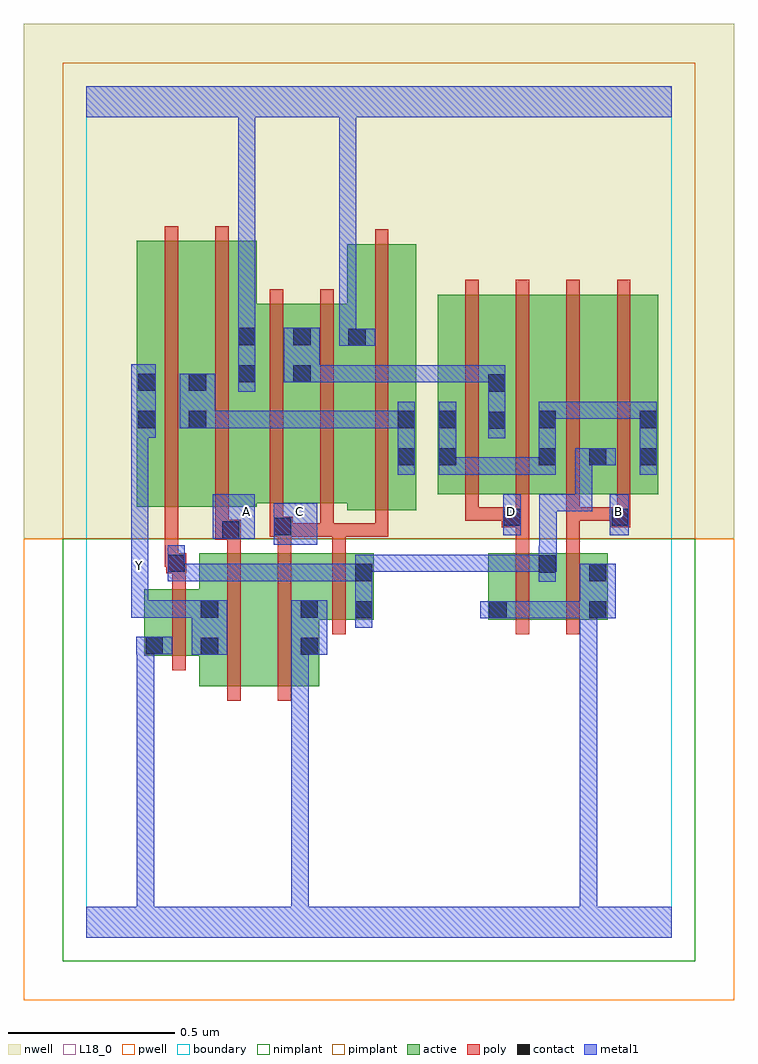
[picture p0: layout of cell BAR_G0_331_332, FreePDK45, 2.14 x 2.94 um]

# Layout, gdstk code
import gdstk
lib = gdstk.Library(unit=1e-6, precision=1e-09)
def R(c, l, rs):  # rectangles x0, y0, x1, y1
    for r in rs: c.add(gdstk.rectangle(r[:2], r[2:], *l))
def A(c, l, x, y, w, h, nx, ny, dx, dy):  # array of equal rectangles
    R(c, l, [(x+i*dx, y+j*dy, x+i*dx+w, y+j*dy+h) for i in range(nx) for j in range(ny)])
active = (1, 0)
pwell = (2, 0)
nwell = (3, 0)
nimplant = (4, 0)
pimplant = (5, 0)
poly = (9, 0)
contact = (10, 0)
metal1 = (11, 0)
L18_0 = (18, 0)
boundary = (235, 0)

bar_g0_331_332 = lib.new_cell('BAR_G0_331_332')
A(bar_g0_331_332, active, 1.204, 1.334, 0.212, 0.6, 3, 1, 0.152, 0)
R(bar_g0_331_332, active, [(0.34,0.756,0.52,1.156), (0.52,0.756,0.7,1.156), (0.34,0.846,0.4,1.018), (0.64,0.846,0.7,1.028), (0.174,0.848,0.234,1.048), (0.174,0.848,0.4,1.048), (0.64,0.956,0.864,1.156), (0.804,0.956,0.864,1.156), (1.208,0.956,1.268,1.156), (1.208,0.956,1.416,1.156), (1.356,0.956,1.568,1.156), (1.356,0.956,1.416,1.154), (1.508,0.956,1.568,1.156), (0.784,1.286,0.992,2.086), (0.932,1.286,0.992,2.044), (0.152,1.296,0.212,2.044), (0.152,1.296,0.364,2.096), (0.304,1.296,0.512,2.096), (0.304,1.296,0.364,2.044), (0.452,1.306,0.678,1.906), (0.618,1.306,0.844,1.906), (0.452,1.32,0.512,1.988), (0.784,1.32,0.844,2.086), (1.056,1.334,1.116,1.844), (1.056,1.334,1.264,1.934), (1.66,1.334,1.72,1.844), (1.356,1.416,1.416,1.844), (1.508,1.416,1.568,1.844), (1.204,1.526,1.264,1.844), (0.618,1.666,0.678,1.906)])
R(bar_g0_331_332, pwell, [(-0.188,-0.188,1.948,1.2)])
R(bar_g0_331_332, nwell, [(-0.188,1.2,1.948,2.748)])
R(bar_g0_331_332, nimplant, [(-0.072,-0.072,1.832,1.2)])
R(bar_g0_331_332, pimplant, [(-0.072,1.2,1.832,2.632)])
A(bar_g0_331_332, poly, 1.14, 1.254, 0.04, 0.076, 4, 1, 0.152, 0)
A(bar_g0_331_332, poly, 1.14, 1.29, 0.04, 0.688, 4, 1, 0.152, 0)
R(bar_g0_331_332, poly, [(0.424,0.712,0.464,1.2), (0.576,0.712,0.616,1.2), (0.258,0.804,0.298,1.092), (0.74,0.912,0.78,1.2), (1.292,0.912,1.332,1.2), (1.444,0.912,1.484,1.2), (0.258,1.052,0.298,1.136), (0.24,1.096,0.3,1.156), (0.236,1.116,0.276,1.292), (0.236,1.116,0.28,1.156), (0.24,1.116,0.28,1.156), (0.424,1.16,0.464,1.236), (0.576,1.16,0.616,1.246), (0.74,1.16,0.78,1.246), (1.292,1.16,1.332,1.236), (1.444,1.16,1.484,1.294), (0.388,1.196,0.464,1.256), (0.424,1.196,0.464,1.236), (0.424,1.196,0.464,1.236), (1.292,1.196,1.332,1.236), (1.292,1.196,1.332,1.274), (0.552,1.206,0.62,1.266), (0.576,1.206,0.616,1.246), (0.576,1.206,0.616,1.246), (0.576,1.206,0.616,1.246), (0.576,1.206,0.616,1.246), (0.576,1.206,0.78,1.246), (0.704,1.206,0.744,1.302), (0.704,1.206,0.78,1.246), (0.74,1.206,0.78,1.246), (0.74,1.206,0.78,1.246), (0.74,1.206,0.78,1.246), (0.74,1.206,0.78,1.246), (0.74,1.206,0.908,1.246), (0.868,1.206,0.908,1.282), (0.868,1.206,0.908,1.246), (0.388,1.216,0.428,1.292), (0.552,1.226,0.592,1.302), (1.25,1.234,1.332,1.294), (1.576,1.234,1.636,1.294), (0.868,1.242,0.908,2.13), (0.236,1.252,0.276,2.14), (0.388,1.252,0.428,2.14), (1.14,1.254,1.18,1.294), (1.14,1.254,1.18,1.294), (1.14,1.254,1.18,1.294), (1.14,1.254,1.29,1.294), (1.444,1.254,1.484,1.294), (1.444,1.254,1.484,1.294), (1.444,1.254,1.484,1.294), (1.444,1.254,1.616,1.294), (1.576,1.254,1.616,1.294), (1.576,1.254,1.616,1.294), (0.552,1.262,0.592,1.95), (0.704,1.262,0.744,1.95)])
A(bar_g0_331_332, contact, 1.36, 1.42, 0.052, 0.052, 3, 1, 0.152, 0)
R(bar_g0_331_332, contact, [(0.344,0.85,0.396,0.902), (0.644,0.85,0.696,0.902), (0.178,0.852,0.23,0.904), (0.808,0.96,0.86,1.012), (1.212,0.96,1.264,1.012), (1.512,0.96,1.564,1.012), (0.344,0.962,0.396,1.014), (0.644,0.962,0.696,1.014), (0.808,1.072,0.86,1.124), (1.512,1.072,1.564,1.124), (1.36,1.098,1.412,1.15), (0.244,1.1,0.296,1.152), (0.408,1.2,0.46,1.252), (0.564,1.21,0.616,1.262), (1.254,1.238,1.306,1.29), (1.58,1.238,1.632,1.29), (0.936,1.42,0.988,1.472), (1.06,1.42,1.112,1.472), (1.208,1.53,1.26,1.582), (0.156,1.532,0.208,1.584), (0.308,1.532,0.36,1.584), (0.936,1.532,0.988,1.584), (1.06,1.532,1.112,1.584), (1.36,1.532,1.412,1.584), (1.664,1.532,1.716,1.584), (1.208,1.642,1.26,1.694), (0.156,1.644,0.208,1.696), (0.308,1.644,0.36,1.696), (0.456,1.67,0.508,1.722), (0.622,1.67,0.674,1.722), (0.788,1.78,0.84,1.832), (0.456,1.782,0.508,1.834), (0.622,1.782,0.674,1.834)])
R(bar_g0_331_332, metal1, [(0,0,1.76,0.092), (0.152,0.04,0.204,0.092), (0.152,0.04,0.204,0.092), (0.152,0.04,0.204,0.092), (0.152,0.04,0.204,0.092), (0.152,0.04,0.204,0.092), (0.152,0.04,0.204,0.092), (0.152,0.04,0.204,0.092), (0.152,0.04,0.204,0.092), (0.152,0.04,0.204,0.876), (0.616,0.04,0.668,0.092), (0.616,0.04,0.668,0.092), (0.616,0.04,0.668,0.092), (0.616,0.04,0.668,0.092), (0.616,0.04,0.668,0.092), (0.616,0.04,0.668,0.092), (0.616,0.04,0.668,0.092), (0.616,0.04,0.668,0.092), (0.616,0.04,0.668,0.874), (1.484,0.04,1.536,0.092), (1.484,0.04,1.536,0.092), (1.484,0.04,1.536,0.092), (1.484,0.04,1.536,0.092), (1.484,0.04,1.536,0.092), (1.484,0.04,1.536,0.092), (1.484,0.04,1.536,0.092), (1.484,0.04,1.536,0.092), (1.484,0.04,1.536,1.012), (0.616,0.822,0.668,0.874), (0.616,0.822,0.668,0.874), (0.616,0.822,0.668,0.874), (0.616,0.822,0.668,0.902), (0.152,0.824,0.204,0.876), (0.152,0.824,0.204,0.876), (0.152,0.824,0.204,0.876), (0.152,0.824,0.204,0.876), (0.152,0.824,0.204,0.876), (0.152,0.824,0.204,0.904), (0.316,0.85,0.424,1.014), (0.616,0.85,0.724,1.014), (0.15,0.852,0.258,0.904), (0.152,0.852,0.204,0.904), (0.152,0.852,0.204,0.904), (0.808,0.932,0.86,1.152), (1.184,0.96,1.292,1.012), (1.24,0.96,1.292,1.012), (1.24,0.96,1.292,1.012), (1.24,0.96,1.412,1.012), (1.36,0.96,1.412,1.012), (1.36,0.96,1.416,1.012), (1.364,0.96,1.416,1.012), (1.364,0.96,1.536,1.012), (1.484,0.96,1.536,1.012), (1.484,0.96,1.536,1.012), (1.484,0.96,1.536,1.012), (1.484,0.96,1.536,1.012), (1.484,0.96,1.536,1.012), (1.484,0.96,1.536,1.012), (1.484,0.96,1.536,1.012), (1.484,0.96,1.536,1.012), (1.484,0.96,1.592,1.124), (0.134,0.962,0.186,1.014), (0.134,0.962,0.186,1.014), (0.134,0.962,0.186,1.014), (0.134,0.962,0.368,1.014), (0.134,0.962,0.186,1.118), (0.134,1.066,0.186,1.174), (1.36,1.07,1.412,1.178), (0.244,1.072,0.296,1.124), (0.244,1.072,0.296,1.124), (0.244,1.072,0.296,1.18), (0.244,1.072,0.506,1.124), (0.454,1.072,0.506,1.124), (0.454,1.072,0.506,1.124), (0.454,1.072,0.506,1.124), (0.454,1.072,0.702,1.124), (0.65,1.072,0.702,1.124), (0.65,1.072,0.702,1.124), (0.65,1.072,0.702,1.124), (0.65,1.072,0.86,1.124), (0.808,1.072,0.86,1.124), (0.808,1.072,0.86,1.124), (0.808,1.072,0.86,1.124), (0.808,1.072,0.86,1.152), (0.808,1.1,1.002,1.152), (0.808,1.1,1.002,1.152), (0.95,1.1,1.112,1.152), (0.95,1.1,1.002,1.152), (0.95,1.1,1.002,1.152), (0.95,1.1,1.002,1.152), (0.95,1.1,1.002,1.152), (0.95,1.1,1.002,1.152), (0.95,1.1,1.002,1.152), (0.95,1.1,1.126,1.152), (1.06,1.1,1.112,1.152), (1.06,1.1,1.112,1.152), (1.06,1.1,1.112,1.152), (1.06,1.1,1.302,1.152), (1.074,1.1,1.126,1.152), (1.074,1.1,1.126,1.152), (1.074,1.1,1.126,1.152), (1.074,1.1,1.302,1.152), (1.25,1.1,1.412,1.152), (1.25,1.1,1.302,1.152), (1.25,1.1,1.302,1.152), (1.25,1.1,1.302,1.152), (1.25,1.1,1.302,1.152), (1.25,1.1,1.302,1.152), (1.25,1.1,1.302,1.152), (1.25,1.1,1.414,1.152), (1.362,1.1,1.414,1.152), (1.362,1.1,1.414,1.334), (0.134,1.122,0.186,1.174), (0.134,1.122,0.186,1.174), (0.134,1.122,0.186,1.556), (0.564,1.182,0.694,1.306), (0.38,1.2,0.506,1.334), (1.254,1.21,1.306,1.334), (1.574,1.21,1.632,1.334), (1.362,1.282,1.414,1.334), (1.362,1.282,1.416,1.334), (1.364,1.282,1.416,1.334), (1.364,1.282,1.522,1.334), (1.47,1.282,1.522,1.334), (1.47,1.282,1.522,1.472), (0.936,1.392,0.988,1.612), (1.06,1.392,1.112,1.612), (1.06,1.392,1.112,1.444), (1.06,1.392,1.112,1.444), (1.06,1.392,1.236,1.444), (1.184,1.392,1.236,1.444), (1.184,1.392,1.236,1.444), (1.184,1.392,1.236,1.444), (1.184,1.392,1.412,1.444), (1.36,1.392,1.412,1.612), (1.664,1.392,1.716,1.612), (1.47,1.42,1.592,1.472), (1.208,1.502,1.26,1.722), (0.134,1.504,0.208,1.724), (0.28,1.532,0.388,1.696), (0.336,1.532,0.506,1.584), (0.454,1.532,0.506,1.584), (0.454,1.532,0.506,1.584), (0.454,1.532,0.506,1.584), (0.454,1.532,0.702,1.584), (0.65,1.532,0.812,1.584), (0.65,1.532,0.702,1.584), (0.65,1.532,0.702,1.584), (0.65,1.532,0.702,1.584), (0.76,1.532,0.812,1.584), (0.76,1.532,0.812,1.584), (0.76,1.532,0.812,1.584), (0.76,1.532,0.988,1.584), (0.936,1.532,0.988,1.584), (0.936,1.532,0.988,1.584), (1.36,1.56,1.412,1.612), (1.36,1.56,1.412,1.612), (1.36,1.56,1.416,1.612), (1.364,1.56,1.416,1.612), (1.364,1.56,1.606,1.612), (1.554,1.56,1.716,1.612), (1.554,1.56,1.606,1.612), (1.554,1.56,1.606,1.612), (1.554,1.56,1.606,1.612), (0.456,1.642,0.508,1.862), (0.594,1.67,0.702,1.834), (0.65,1.67,0.812,1.722), (0.76,1.67,0.812,1.722), (0.76,1.67,0.812,1.722), (0.76,1.67,0.812,1.722), (0.76,1.67,1.002,1.722), (0.95,1.67,1.002,1.722), (0.95,1.67,1.002,1.722), (0.95,1.67,1.002,1.722), (0.95,1.67,1.126,1.722), (1.074,1.67,1.126,1.722), (1.074,1.67,1.126,1.722), (1.074,1.67,1.126,1.722), (1.074,1.67,1.26,1.722), (0.76,1.78,0.812,1.832), (0.76,1.78,0.812,1.832), (0.76,1.78,0.812,1.832), (0.76,1.78,0.812,1.832), (0.76,1.78,0.812,1.832), (0.76,1.78,0.812,1.832), (0.76,1.78,0.868,1.832), (0.76,1.78,0.812,2.52), (0.456,1.81,0.508,1.862), (0.456,1.81,0.508,1.862), (0.456,1.81,0.508,2.52), (0,2.468,1.76,2.56), (0.456,2.468,0.508,2.52), (0.456,2.468,0.508,2.52), (0.456,2.468,0.508,2.52), (0.456,2.468,0.508,2.52), (0.456,2.468,0.508,2.52), (0.456,2.468,0.508,2.52), (0.76,2.468,0.812,2.52), (0.76,2.468,0.812,2.52)])
R(bar_g0_331_332, L18_0, [(0,0,1.76,0.092), (0.152,0.04,0.204,0.092), (0.152,0.04,0.204,0.092), (0.152,0.04,0.204,0.092), (0.152,0.04,0.204,0.092), (0.152,0.04,0.204,0.092), (0.152,0.04,0.204,0.092), (0.152,0.04,0.204,0.092), (0.152,0.04,0.204,0.092), (0.152,0.04,0.204,0.876), (0.616,0.04,0.668,0.092), (0.616,0.04,0.668,0.092), (0.616,0.04,0.668,0.092), (0.616,0.04,0.668,0.092), (0.616,0.04,0.668,0.092), (0.616,0.04,0.668,0.092), (0.616,0.04,0.668,0.092), (0.616,0.04,0.668,0.092), (0.616,0.04,0.668,0.874), (1.484,0.04,1.536,0.092), (1.484,0.04,1.536,0.092), (1.484,0.04,1.536,0.092), (1.484,0.04,1.536,0.092), (1.484,0.04,1.536,0.092), (1.484,0.04,1.536,0.092), (1.484,0.04,1.536,0.092), (1.484,0.04,1.536,0.092), (1.484,0.04,1.536,1.012), (0.616,0.822,0.668,0.874), (0.616,0.822,0.668,0.874), (0.616,0.822,0.668,0.874), (0.616,0.822,0.668,0.902), (0.152,0.824,0.204,0.876), (0.152,0.824,0.204,0.876), (0.152,0.824,0.204,0.876), (0.152,0.824,0.204,0.876), (0.152,0.824,0.204,0.876), (0.152,0.824,0.204,0.904), (0.316,0.85,0.424,1.014), (0.616,0.85,0.724,1.014), (0.15,0.852,0.258,0.904), (0.152,0.852,0.204,0.904), (0.152,0.852,0.204,0.904), (1.184,0.96,1.292,1.012), (1.24,0.96,1.292,1.012), (1.24,0.96,1.292,1.012), (1.24,0.96,1.412,1.012), (1.36,0.96,1.412,1.012), (1.36,0.96,1.416,1.012), (1.364,0.96,1.416,1.012), (1.364,0.96,1.536,1.012), (1.484,0.96,1.536,1.012), (1.484,0.96,1.536,1.012), (1.484,0.96,1.536,1.012), (1.484,0.96,1.536,1.012), (1.484,0.96,1.536,1.012), (1.484,0.96,1.536,1.012), (1.484,0.96,1.536,1.012), (1.484,0.96,1.536,1.012), (1.484,0.96,1.592,1.124), (0.134,0.962,0.186,1.014), (0.134,0.962,0.186,1.014), (0.134,0.962,0.186,1.014), (0.134,0.962,0.186,1.118), (0.134,0.962,0.368,1.014), (0.134,1.066,0.186,1.174), (0.134,1.094,0.186,1.146), (0.134,1.122,0.186,1.174), (0.134,1.122,0.186,1.174), (0.134,1.122,0.186,1.556), (0.564,1.182,0.694,1.306), (0.38,1.2,0.506,1.334), (1.254,1.21,1.306,1.334), (1.574,1.21,1.632,1.334), (0.454,1.254,0.506,1.306), (0.614,1.254,0.666,1.306), (1.254,1.254,1.306,1.306), (1.574,1.254,1.626,1.306), (0.134,1.504,0.208,1.724), (0.456,1.642,0.508,1.862), (0.76,1.78,0.812,1.832), (0.76,1.78,0.812,1.832), (0.76,1.78,0.812,1.832), (0.76,1.78,0.812,1.832), (0.76,1.78,0.812,1.832), (0.76,1.78,0.812,1.832), (0.76,1.78,0.868,1.832), (0.76,1.78,0.812,2.52), (0.456,1.81,0.508,1.862), (0.456,1.81,0.508,1.862), (0.456,1.81,0.508,2.52), (0,2.468,1.76,2.56), (0.456,2.468,0.508,2.52), (0.456,2.468,0.508,2.52), (0.456,2.468,0.508,2.52), (0.456,2.468,0.508,2.52), (0.456,2.468,0.508,2.52), (0.456,2.468,0.508,2.52), (0.76,2.468,0.812,2.52), (0.76,2.468,0.812,2.52)])
R(bar_g0_331_332, boundary, [(0,0,1.76,2.56)])
bar_g0_331_332.add(gdstk.Label('A', (0.48,1.28), layer=11, texttype=0))
bar_g0_331_332.add(gdstk.Label('B', (1.6,1.28), layer=11, texttype=0))
bar_g0_331_332.add(gdstk.Label('C', (0.64,1.28), layer=11, texttype=0))
bar_g0_331_332.add(gdstk.Label('D', (1.28,1.28), layer=11, texttype=0))
bar_g0_331_332.add(gdstk.Label('Y', (0.16,1.12), layer=11, texttype=0))

lib.write_gds('BAR_G0_331_332.gds')
